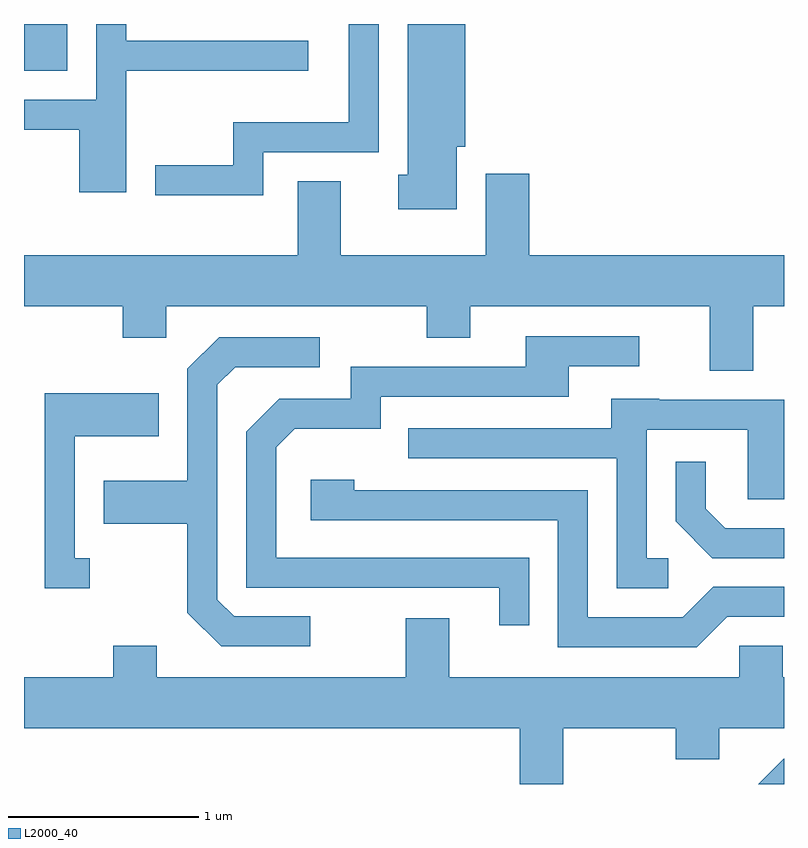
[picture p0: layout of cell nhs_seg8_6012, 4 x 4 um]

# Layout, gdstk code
import gdstk
lib = gdstk.Library(unit=1e-6, precision=1e-09)
def R(c, l, rs):  # rectangles x0, y0, x1, y1
    for r in rs: c.add(gdstk.rectangle(r[:2], r[2:], *l))
def P(c, l, *ps):  # polygons
    for p in ps: c.add(gdstk.Polygon(p, *l))
L2000_40 = (2000, 40)

nhs_seg8_6012 = lib.new_cell('nhs_seg8_6012')
R(nhs_seg8_6012, L2000_40, [(365.611,1842.096,365.839,1842.342)])
P(nhs_seg8_6012, L2000_40, [(366.149,1842.096),(367.108,1842.096),(367.108,1842.254),(366.149,1842.254),(366.149,1842.342),(365.991,1842.342),(365.991,1841.944),(365.611,1841.944),(365.611,1841.786),(365.901,1841.786),(365.901,1841.456),(366.149,1841.456)],
  [(367.889,1841.696),(367.934,1841.696),(367.934,1842.342),(367.631,1842.342),(367.631,1841.549),(367.581,1841.549),(367.581,1841.366),(367.889,1841.366)],
  [(366.869,1841.666),(367.479,1841.666),(367.479,1842.342),(367.321,1842.342),(367.321,1841.824),(366.711,1841.824),(366.711,1841.599),(366.303,1841.599),(366.303,1841.441),(366.869,1841.441)],
  [(369.449,1840.856),(369.611,1840.856),(369.611,1841.124),(368.269,1841.124),(368.269,1841.554),(368.041,1841.554),(368.041,1841.124),(367.279,1841.124),(367.279,1841.514),(367.051,1841.514),(367.051,1841.124),(365.611,1841.124),(365.611,1840.856),(366.131,1840.856),(366.131,1840.691),(366.359,1840.691),(366.359,1840.856),(367.731,1840.856),(367.731,1840.691),(367.959,1840.691),(367.959,1840.856),(369.221,1840.856),(369.221,1840.516),(369.449,1840.516)],
  [(368.269,1839.534),(366.939,1839.534),(366.939,1840.114),(367.037,1840.211),(367.489,1840.211),(367.489,1840.381),(368.479,1840.381),(368.479,1840.541),(368.848,1840.541),(368.848,1840.699),(368.251,1840.699),(368.251,1840.539),(367.331,1840.539),(367.331,1840.369),(366.954,1840.369),(366.781,1840.197),(366.781,1839.376),(368.111,1839.376),(368.111,1839.178),(368.269,1839.178)],
  [(367.118,1839.224),(366.717,1839.224),(366.629,1839.312),(366.629,1840.444),(366.722,1840.536),(367.168,1840.536),(367.168,1840.694),(366.639,1840.694),(366.471,1840.527),(366.471,1839.939),(366.031,1839.939),(366.031,1839.711),(366.471,1839.711),(366.471,1839.244),(366.649,1839.066),(367.118,1839.066)],
  [(365.958,1839.529),(365.879,1839.529),(365.879,1840.171),(366.319,1840.171),(366.319,1840.399),(365.721,1840.399),(365.721,1839.371),(365.958,1839.371)],
  [(369.003,1839.529),(368.889,1839.529),(368.889,1840.206),(369.421,1840.206),(369.421,1839.841),(369.611,1839.841),(369.611,1840.364),(368.955,1840.364),(368.955,1840.369),(368.701,1840.369),(368.701,1840.214),(367.633,1840.214),(367.633,1840.056),(368.731,1840.056),(368.731,1839.371),(369.003,1839.371)],
  [(369.611,1839.689),(369.302,1839.689),(369.199,1839.792),(369.199,1840.038),(369.041,1840.038),(369.041,1839.724),(369.234,1839.531),(369.611,1839.531)],
  [(369.312,1839.221),(369.611,1839.221),(369.611,1839.379),(369.239,1839.379),(369.079,1839.219),(368.579,1839.219),(368.579,1839.889),(367.349,1839.889),(367.349,1839.944),(367.121,1839.944),(367.121,1839.731),(368.421,1839.731),(368.421,1839.061),(369.152,1839.061)],
  [(368.449,1838.636),(369.041,1838.636),(369.041,1838.471),(369.269,1838.471),(369.269,1838.636),(369.611,1838.636),(369.611,1838.904),(369.604,1838.904),(369.604,1839.069),(369.376,1839.069),(369.376,1838.904),(367.849,1838.904),(367.849,1839.214),(367.621,1839.214),(367.621,1838.904),(366.309,1838.904),(366.309,1839.069),(366.081,1839.069),(366.081,1838.904),(365.611,1838.904),(365.611,1838.636),(368.221,1838.636),(368.221,1838.342),(368.449,1838.342)],
  [(369.611,1838.474),(369.609,1838.474),(369.476,1838.342),(369.611,1838.342)])

lib.write_gds('nhs_seg8_6012.gds')
